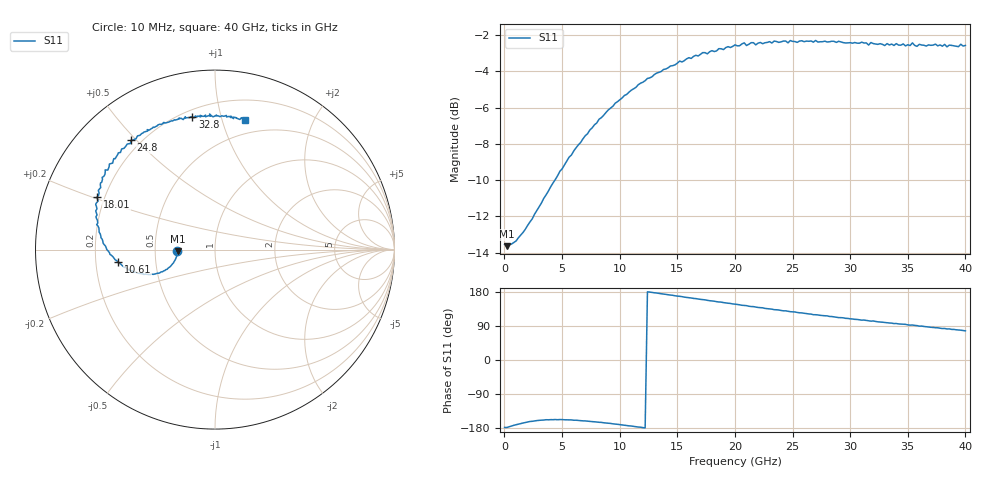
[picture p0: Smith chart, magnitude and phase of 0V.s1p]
!Agilent Technologies,N5227A,US51270434,A.10.00.00
!Agilent N5227A: A.10.00.00
!Date: Monday, January 26, 2026 17:34:52
!Correction: S11(Full 1 Port(1))
!S1P File: Measurement: S11:
# Hz S  dB  R 50
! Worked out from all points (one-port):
!   201 points, 10 MHz to 40 GHz, reference 50 ohm
!   lowest |S11| = -13.6 dB at 209.9 MHz (marker M1), VSWR 1.52, Z = 32.8 - j0.486 ohm
!   |S11| at or under -10 dB: start of sweep to 4.378 GHz
!   S11 on the Smith chart (normalised r, x): 10 MHz: 0.65, -0.01; 10.61 GHz: 0.30, -0.06; 18.01 GHz: 0.17, +0.21; 24.8 GHz: 0.16, +0.48; 32.8 GHz: 0.24, +0.81; 40 GHz: 0.37, +1.19
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1e7  -13.55 -178.0
2.0995e8  -13.65 -178.0
1.6096e9  -12.89 -166.3
3.6091e9  -10.82 -157.6
5.00875e9  -9.37 -157.3
7.00825e9  -7.55 -160.7
1.00075e10  -5.57 -170.5
1.060735e10  -5.27 -172.8
1.24069e10  -4.39 179.9
1.500625e10  -3.54 168.6
1.660585e10  -3.11 162.0
1.80055e10  -2.86 155.9
2.0005e10  -2.54 147.4
2.100475e10  -2.57 143.4
2.140465e10  -2.42 141.1
2.48038e10  -2.30 127.5
2.500375e10  -2.35 127.0
2.660335e10  -2.32 121.2
2.68033e10  -2.39 119.6
2.700325e10  -2.29 119.5
3.00025e10  -2.42 108.6
3.2002e10  -2.47 103.0
3.28018e10  -2.51 99.7
3.500125e10  -2.53 92.7
3.540115e10  -2.43 92.3
3.580105e10  -2.62 90.8
3.740065e10  -2.50 85.1
4e10  -2.57 76.9
